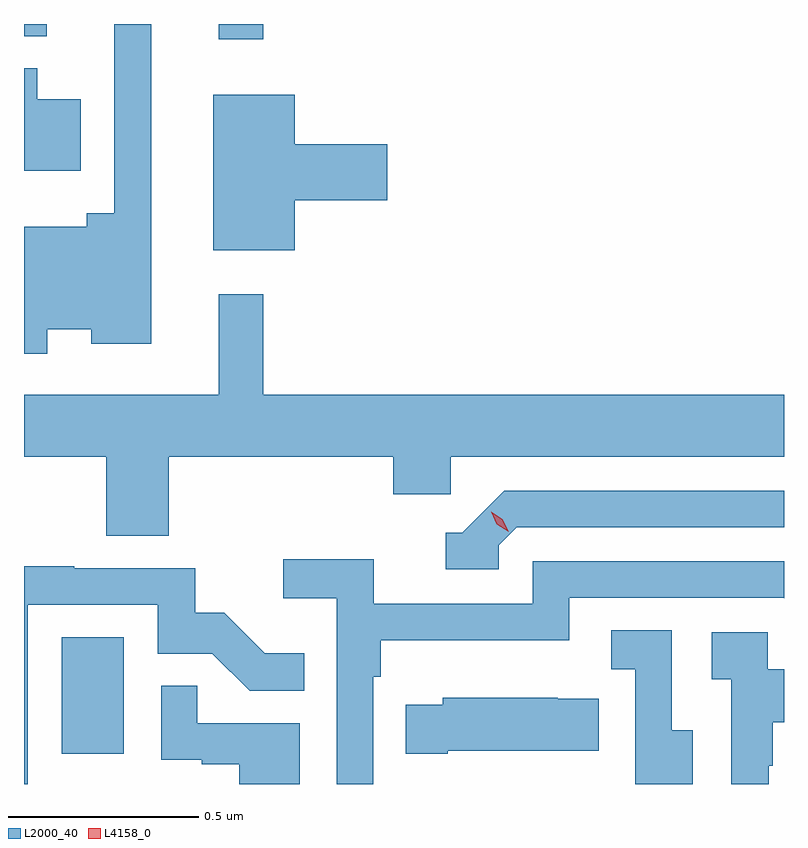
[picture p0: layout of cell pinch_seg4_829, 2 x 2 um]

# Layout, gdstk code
import gdstk
lib = gdstk.Library(unit=1e-6, precision=1e-09)
def R(c, l, rs):  # rectangles x0, y0, x1, y1
    for r in rs: c.add(gdstk.rectangle(r[:2], r[2:], *l))
def P(c, l, *ps):  # polygons
    for p in ps: c.add(gdstk.Polygon(p, *l))
L2000_40 = (2000, 40)
L4158_0 = (4158, 0)

pinch_seg4_829 = lib.new_cell('pinch_seg4_829')
R(pinch_seg4_829, L2000_40, [(805.124,801.366,805.288,801.673), (805.538,803.247,805.655,803.287), (805.025,803.255,805.085,803.287)])
P(pinch_seg4_829, L2000_40, [(805.086,802.484),(805.202,802.484),(805.202,802.445),(805.36,802.445),(805.36,803.287),(805.263,803.287),(805.263,802.789),(805.19,802.789),(805.19,802.753),(805.025,802.753),(805.025,802.419),(805.086,802.419)],
  [(805.174,803.089),(805.06,803.089),(805.06,803.17),(805.025,803.17),(805.025,802.901),(805.174,802.901)],
  [(805.738,802.823),(805.981,802.823),(805.981,802.97),(805.738,802.97),(805.738,803.101),(805.523,803.101),(805.523,802.691),(805.738,802.691)],
  [(805.406,802.148),(805.997,802.148),(805.997,802.05),(806.148,802.05),(806.148,802.148),(807.025,802.148),(807.025,802.312),(805.655,802.312),(805.655,802.576),(805.538,802.576),(805.538,802.312),(805.025,802.312),(805.025,802.148),(805.241,802.148),(805.241,801.94),(805.406,801.94)],
  [(806.274,801.915),(806.322,801.963),(807.025,801.963),(807.025,802.059),(806.289,802.059),(806.178,801.948),(806.135,801.948),(806.135,801.852),(806.274,801.852)],
  [(805.944,801.569),(805.964,801.569),(805.964,801.665),(806.46,801.665),(806.46,801.777),(807.024,801.777),(807.025,801.776),(807.025,801.873),(806.364,801.873),(806.364,801.762),(805.946,801.762),(805.946,801.878),(805.707,801.878),(805.707,801.776),(805.848,801.776),(805.848,801.287),(805.944,801.287)],
  [(805.035,801.759),(805.377,801.759),(805.377,801.63),(805.521,801.63),(805.619,801.532),(805.763,801.532),(805.763,801.631),(805.659,801.631),(805.552,801.738),(805.476,801.738),(805.476,801.855),(805.157,801.855),(805.157,801.86),(805.025,801.86),(805.025,801.287),(805.035,801.287)],
  [(806.785,801.429),(806.73,801.429),(806.73,801.692),(806.571,801.692),(806.571,801.589),(806.634,801.589),(806.634,801.287),(806.785,801.287)],
  [(806.985,801.335),(806.995,801.335),(806.995,801.449),(807.025,801.449),(807.025,801.589),(806.982,801.589),(806.982,801.687),(806.835,801.687),(806.835,801.563),(806.886,801.563),(806.886,801.287),(806.985,801.287)],
  [(805.75,801.447),(805.481,801.447),(805.481,801.545),(805.386,801.545),(805.386,801.351),(805.493,801.351),(805.493,801.339),(805.592,801.339),(805.592,801.287),(805.75,801.287)],
  [(806.14,801.374),(806.537,801.374),(806.537,801.511),(806.429,801.511),(806.429,801.514),(806.127,801.514),(806.127,801.496),(806.029,801.496),(806.029,801.367),(806.14,801.367)])
P(pinch_seg4_829, L4158_0, [(806.3,801.951),(806.269,801.97),(806.254,802.003),(806.254,802.004),(806.254,802.004),(806.284,801.984),(806.3,801.951),(806.3,801.951)])

lib.write_gds('pinch_seg4_829.gds')
